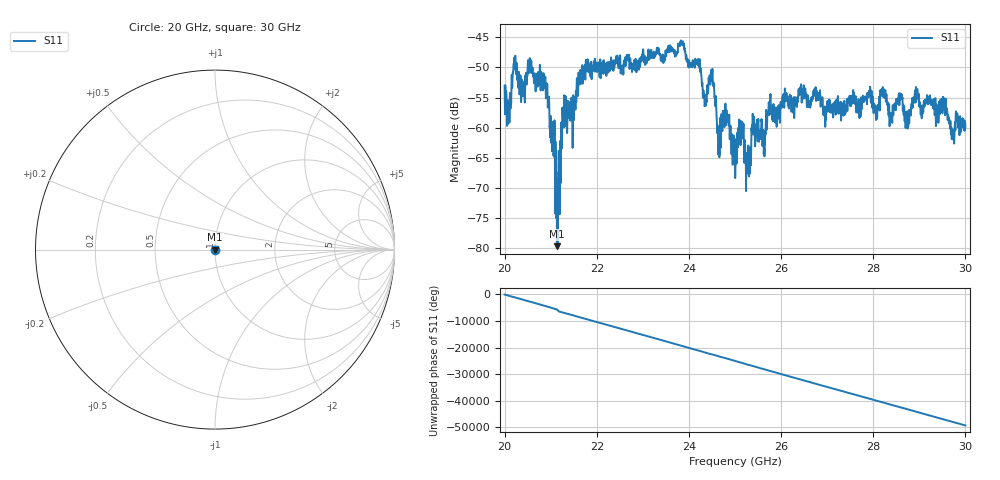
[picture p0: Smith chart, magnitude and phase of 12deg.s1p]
#  HZ  S  RI  R  50.00
! Rohde & Schwarz ZVA40 4Ports - Version 3.90 - 1145.1110k42 SN: 100403
! Date: 2023-10-03 10:24:14
! Measurement: S12
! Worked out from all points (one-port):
!   5001 points, 20 GHz to 30 GHz, reference 50 ohm
!   lowest |S11| = -79.7 dB at 21.14 GHz (marker M1), VSWR 1.00, Z = 50 + j0.00995 ohm
!   |S11| at or under -10 dB: start of sweep to end of sweep
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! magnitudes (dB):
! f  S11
! 20 GHz  -53.0
! 20.1 GHz  -56.4
! 20.22 GHz  -49.1
! 20.4 GHz  -54.4
! 20.55 GHz  -48.6
! 20.84 GHz  -53.3
! 21.14 GHz  -79.7
! 21.17 GHz  -66.1
! 21.25 GHz  -57.4
! 21.77 GHz  -49.5
! 22.5 GHz  -49.0
! 23.75 GHz  -47.4
! 24.19 GHz  -49.4
! 24.34 GHz  -56.4
! 24.5 GHz  -52.2
! 24.65 GHz  -62.7
! 24.83 GHz  -59.0
! 25 GHz  -63.8
! 25.14 GHz  -59.5
! 25.28 GHz  -67.3
! 25.41 GHz  -59.1
! 26.25 GHz  -55.5
! 27.5 GHz  -55.4
! 28.4 GHz  -58.0
! 28.59 GHz  -55.2
! 28.75 GHz  -59.4
! 28.94 GHz  -54.8
! 30 GHz  -60.0
